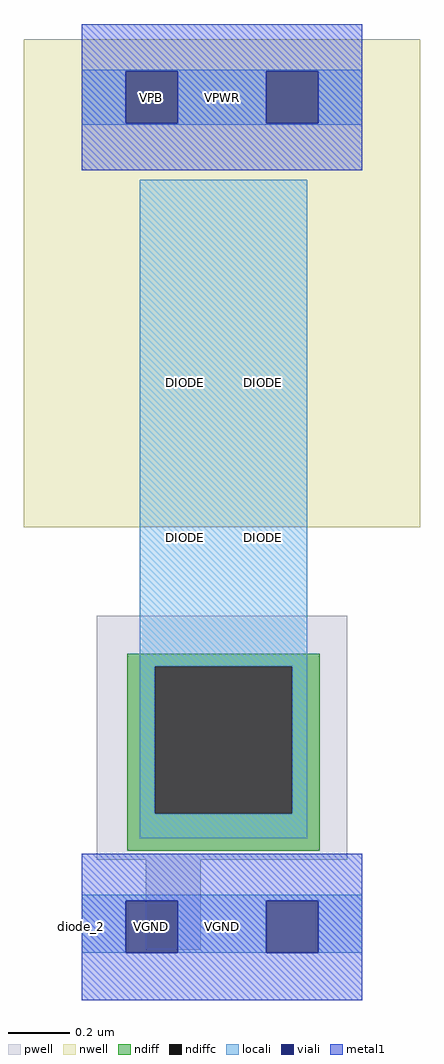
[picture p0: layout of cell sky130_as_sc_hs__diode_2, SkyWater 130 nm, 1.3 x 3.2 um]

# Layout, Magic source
magic
tech sky130A
magscale 1 2
<< nwell >>
rect -38 262 222 582
<< pwell >>
rect 10 44 174 204
rect 42 -15 78 44
<< ndiff >>
rect 30 171 156 179
rect 30 74 48 171
rect 138 74 156 171
rect 30 50 156 74
<< ndiffc >>
rect 48 74 138 171
<< locali >>
rect 0 561 184 562
rect 0 527 29 561
rect 63 527 121 561
rect 155 527 184 561
rect 0 526 184 527
rect 38 171 148 490
rect 38 74 48 171
rect 138 74 148 171
rect 38 58 148 74
rect 0 17 184 21
rect 0 -17 29 17
rect 63 -17 121 17
rect 155 -17 184 17
<< viali >>
rect 29 527 63 561
rect 121 527 155 561
rect 29 -17 63 17
rect 121 -17 155 17
<< metal1 >>
rect 0 561 184 592
rect 0 527 29 561
rect 63 527 121 561
rect 155 527 184 561
rect 0 496 184 527
rect 0 17 184 48
rect 0 -17 29 17
rect 63 -17 121 17
rect 155 -17 184 17
rect 0 -48 184 -17
<< labels >>
rlabel comment s 0 0 0 0 4 diode_2
flabel nwell s 29 527 63 561 0 FreeSans 200 0 0 0 VPB
port 1 nsew power bidirectional
flabel nwell s 46 544 46 544 0 FreeSans 200 0 0 0 VPB
flabel metal1 s 29 527 63 561 0 FreeSans 200 0 0 0 VPWR
port 2 nsew power bidirectional abutment
flabel metal1 s 29 -17 63 17 0 FreeSans 200 0 0 0 VGND
port 3 nsew ground bidirectional abutment
rlabel metal1 s 0 -48 184 48 1 VGND
port 3 nsew ground bidirectional abutment
rlabel metal1 s 0 496 184 592 1 VPWR
port 2 nsew power bidirectional abutment
flabel pwell s 29 -17 63 17 0 FreeSans 200 0 0 0 VNB
port 4 nsew ground bidirectional
flabel pwell s 46 0 46 0 0 FreeSans 200 0 0 0 VNB
flabel locali s 102 238 136 272 0 FreeSans 200 0 0 0 DIODE
port 5 nsew signal input
flabel locali s 119 255 119 255 0 FreeSans 200 0 0 0 DIODE
flabel locali s 51 238 85 272 0 FreeSans 200 0 0 0 DIODE
port 5 nsew signal input
flabel locali s 68 255 68 255 0 FreeSans 200 0 0 0 DIODE
flabel locali s 102 340 136 374 0 FreeSans 200 0 0 0 DIODE
port 5 nsew signal input
flabel locali s 119 357 119 357 0 FreeSans 200 0 0 0 DIODE
flabel locali s 51 340 85 374 0 FreeSans 200 0 0 0 DIODE
port 5 nsew signal input
flabel locali s 68 357 68 357 0 FreeSans 200 0 0 0 DIODE
<< properties >>
string FIXED_BBOX 0 0 184 544
string GDS_FILE $PDKPATH/libs.ref/sky130_as_sc_hs/gds/sky130_as_sc_hs__diode_2.gds
string LEFclass CORE
string LEFsite unithd
string LEFsymmetry X Y R90
string MASKHINTS_LVTN 0 -4 184 214
string MASKHINTS_NSDM 0 -38 184 204
string MASKHINTS_PSDM 0 272 184 582
<< end >>
